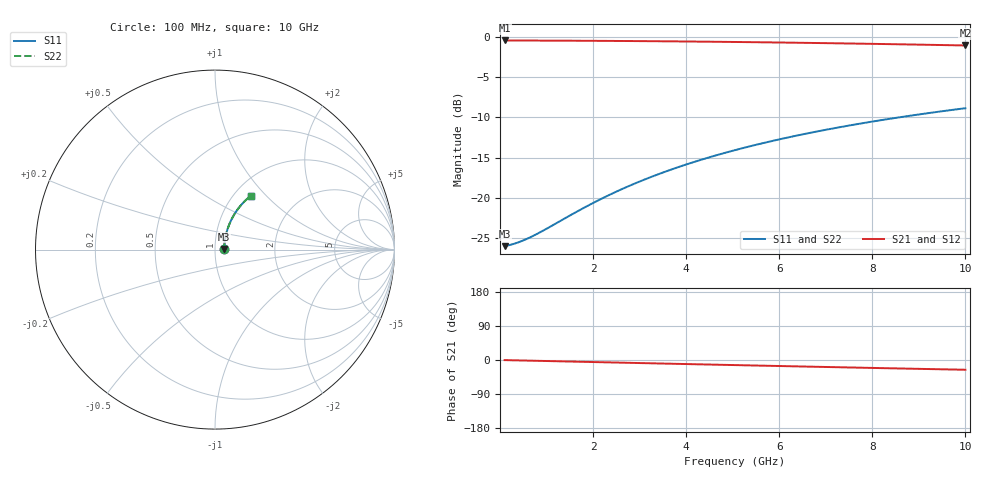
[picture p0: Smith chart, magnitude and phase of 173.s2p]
# Hz S RI R 50.00
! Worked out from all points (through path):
!   100 points, 100 MHz to 10 GHz, reference 50 ohm
!   highest |S21| = -0.45 dB at 100 MHz (marker M1); lowest = -1.1 dB at 10 GHz (marker M2)
!   group delay of S21, straight-line fit = 7.17 ps
!   lowest |S11| = -26.0 dB at 100 MHz (marker M3), VSWR 1.11, Z = 55.3 + j0.403 ohm
!   |S11| at or under -10 dB: start of sweep to 8.575 GHz
!   |S22| runs from -26.0 to -8.9 dB; largest |S21 - S12| = 0
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1e8  0.05 0.00364  0.95 -0.00447  0.95 -0.00447  0.05 0.00364
3e8  0.0507 0.0109  0.9493 -0.0134  0.9493 -0.0134  0.0507 0.0109
4e8  0.051 0.0145  0.949 -0.0179  0.949 -0.0179  0.051 0.0145
5e8  0.0513 0.0181  0.9487 -0.0223  0.9487 -0.0223  0.0513 0.0181
7e8  0.0519 0.0254  0.948 -0.0312  0.948 -0.0312  0.0519 0.0254
1e9  0.0531 0.0362  0.9468 -0.0445  0.9468 -0.0445  0.0531 0.0362
1.8e9  0.0575 0.0648  0.9424 -0.0798  0.9424 -0.0798  0.0575 0.0648
2.2e9  0.0604 0.0789  0.9394 -0.0972  0.9394 -0.0972  0.0604 0.0789
2.6e9  0.0638 0.0928  0.9359 -0.1145  0.9359 -0.1145  0.0638 0.0928
3e9  0.0677 0.1066  0.932 -0.1317  0.932 -0.1317  0.0677 0.1066
3.4e9  0.0721 0.1202  0.9275 -0.1486  0.9275 -0.1486  0.0721 0.1202
3.8e9  0.0769 0.1335  0.9226 -0.1653  0.9226 -0.1653  0.0769 0.1335
4.2e9  0.0822 0.1467  0.9171 -0.1818  0.9171 -0.1818  0.0822 0.1467
4.6e9  0.0879 0.1595  0.9113 -0.198  0.9113 -0.198  0.0879 0.1595
5.1e9  0.0957 0.1752  0.9033 -0.2178  0.9033 -0.2178  0.0957 0.1752
5.5e9  0.1024 0.1874  0.8965 -0.2334  0.8965 -0.2334  0.1024 0.1874
5.9e9  0.1095 0.1993  0.8892 -0.2486  0.8892 -0.2486  0.1095 0.1993
6.7e9  0.1247 0.222  0.8736 -0.2781  0.8736 -0.2781  0.1247 0.222
7.5e9  0.1413 0.2433  0.8566 -0.3062  0.8566 -0.3062  0.1413 0.2433
8.4e9  0.1613 0.2655  0.8361 -0.336  0.8361 -0.336  0.1613 0.2655
9.2e9  0.1802 0.2835  0.8167 -0.3608  0.8167 -0.3608  0.1802 0.2835
1e10  0.1999 0.2999  0.7965 -0.384  0.7965 -0.384  0.1999 0.2999
